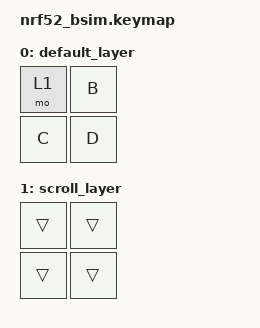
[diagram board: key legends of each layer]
/*
 * Copyright (c) 2026 amgskobo
 * SPDX-License-Identifier: MIT
 *
 * A key on the central moves one contact from the peripheral's pad between two
 * converters while the finger stays down. Each switch costs one reference
 * sample and never produces a jump, and a BTN_0 press that reached the host
 * on the default route is released on the other one, whose converter
 * suppresses BTN_0 but did not see that press. A press and release both made
 * on layer 1 stay suppressed.
 *
 * The pad's frames arrive every 100 ms from 4.0 s (peripheral.overlay); the
 * key goes down at 4.45 s, up at 4.75 s, down at 5.05 s and up at 5.25 s,
 * midway between frames so the split link's latency cannot reorder them.
 */

#include <behaviors.dtsi>
#include <dt-bindings/zmk/keys.h>
#include <dt-bindings/zmk/kscan_mock.h>

#include "shared.dtsi"

&kscan {
    /delete-property/ exit-after;
    /* A mock event's delay is also the wait after it, so a no-op release
     * leads: it fires at 2.225 s and the press 2.225 s later. */
    events = <ZMK_MOCK_RELEASE(1,1,2225) ZMK_MOCK_PRESS(0,0,300) ZMK_MOCK_RELEASE(0,0,300)
              ZMK_MOCK_PRESS(0,0,200) ZMK_MOCK_RELEASE(0,0,200)>;
};

&split_listener {
    status = "okay";
};

/ {
    keymap {
        compatible = "zmk,keymap";

        default_layer {
            bindings = <
            &mo 1 &kp B
            &kp C &kp D>;
        };

        scroll_layer {
            bindings = <
            &trans &trans
            &trans &trans>;
        };
    };
};
